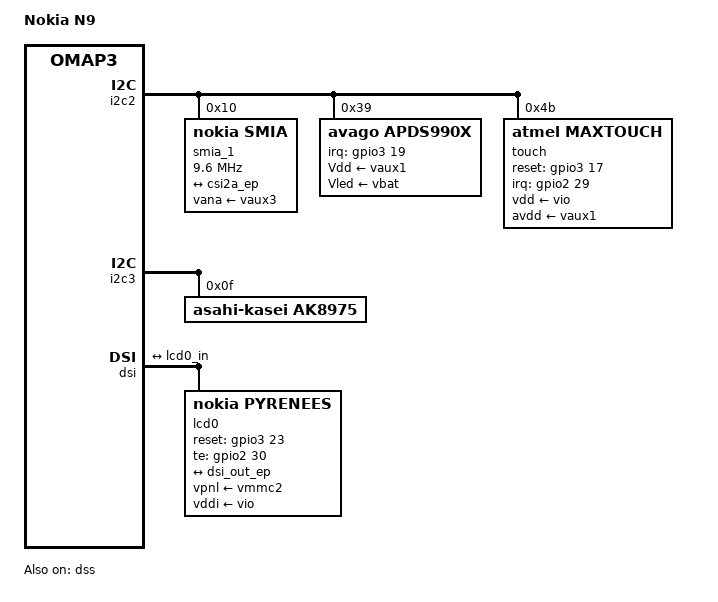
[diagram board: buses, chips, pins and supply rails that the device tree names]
/*
 * omap3-n9.dts - Device Tree file for Nokia N9
 *
 * Written by: Aaro Koskinen <aaro.koskinen@iki.fi>
 *
 * This program is free software; you can redistribute it and/or modify
 * it under the terms of the GNU General Public License version 2 as
 * published by the Free Software Foundation.
 */

/dts-v1/;

#include "omap3-n950-n9.dtsi"
#include <dt-bindings/input/input.h>

/ {
	model = "Nokia N9";
	compatible = "nokia,omap3-n9", "ti,omap36xx", "ti,omap3";
};

&omap3_pmx_core {
	dsi_pins: pinmux_dsi_pins {
		pinctrl-single,pins = <
			OMAP3_CORE1_IOPAD(0x20dc, PIN_OUTPUT | MUX_MODE1) /* dsi_dx0 - data0+ */
			OMAP3_CORE1_IOPAD(0x20de, PIN_OUTPUT | MUX_MODE1) /* dsi_dy0 - data0- */
			OMAP3_CORE1_IOPAD(0x20e0, PIN_OUTPUT | MUX_MODE1) /* dsi_dx1 - clk+   */
			OMAP3_CORE1_IOPAD(0x20e2, PIN_OUTPUT | MUX_MODE1) /* dsi_dy1 - clk-   */
			OMAP3_CORE1_IOPAD(0x20e4, PIN_OUTPUT | MUX_MODE1) /* dsi_dx2 - data1+ */
			OMAP3_CORE1_IOPAD(0x20e6, PIN_OUTPUT | MUX_MODE1) /* dsi_dy2 - data1- */
		>;
	};

	display_pins: pinmux_display_pins {
		pinctrl-single,pins = <
			OMAP3_CORE1_IOPAD(0x20ca, PIN_INPUT | MUX_MODE4) /* gpio 62 - display te */
			OMAP3_CORE1_IOPAD(0x20fe, PIN_OUTPUT | MUX_MODE4) /* gpio 87 - display reset */
		>;
	};
};

&i2c2 {
	smia_1: camera@10 {
		compatible = "nokia,smia";
		reg = <0x10>;
		/* No reset gpio */
		vana-supply = <&vaux3>;
		clocks = <&isp 0>;
		clock-frequency = <9600000>;
		nokia,nvm-size = <(16 * 64)>;
		port {
			smia_1_1: endpoint {
				link-frequencies = /bits/ 64 <199200000 210000000 499200000>;
				clock-lanes = <0>;
				data-lanes = <1 2>;
				remote-endpoint = <&csi2a_ep>;
			};
		};
	};

       apds990x@39 {
               compatible = "avago,apds990x";
               reg = <0x39>;

               interrupt-parent = <&gpio3>;
               interrupts = <19 10>; /* gpio_83, IRQF_TRIGGER_FALLING | IRQF_TRIGGER_LOW */

               Vdd-supply = <&vaux1>;
               Vled-supply = <&vbat>;

               ga      = <168834>;
               cf1     = <4096>;
               irf1    = <7824>;
               cf2     = <877>;
               irf2    = <1575>;
               df      = <52>;

	       pdrive  = /bits/ 8 <2>; /* APDS_IRLED_CURR_25mA */
	       ppcount  = /bits/ 8 <5>;
	};

	touch@4b {
		compatible = "atmel,maxtouch";
		reg = <0x4b>;
		interrupt-parent = <&gpio2>;
		interrupts = <29 2>; /* gpio_61, IRQF_TRIGGER_FALLING*/
		atmel,reset-gpio = <&gpio3 17 0>; /* gpio_81 */
		vdd-supply = <&vio>;
		avdd-supply = <&vaux1>;
		atmel,suspend-mode = <2>; /* MXT_SUSPEND_REGULATOR */
		atmel,cfg_name = "RM-696_Pyrenees_SMD_V1_6.raw";
	};
};

&i2c3 {
	ak8975@0f {
		compatible = "asahi-kasei,ak8975";
		reg = <0x0f>;
	};
};

&isp {
	vdd-csiphy1-supply = <&vaux2>;
	vdd-csiphy2-supply = <&vaux2>;
	ports {
		port@2 {
			reg = <2>;
			csi2a_ep: endpoint {
				remote-endpoint = <&smia_1_1>;
				clock-lanes = <2>;
				data-lanes = <1 3>;
				crc = <1>;
				lane-polarities = <1 1 1>;
			};
		};
	};
};

&modem {
	compatible = "nokia,n9-modem";
};

&lis302 {
	st,axis-x = <1>;    /* LIS3_DEV_X */
	st,axis-y = <(-2)>; /* LIS3_INV_DEV_Y */
	st,axis-z = <(-3)>; /* LIS3_INV_DEV_Z */

	st,min-limit-x = <(-46)>;
	st,min-limit-y = <3>;
	st,min-limit-z = <3>;

	st,max-limit-x = <(-3)>;
	st,max-limit-y = <46>;
	st,max-limit-z = <46>;
};

&dss {
	status = "ok";

	vdda_video-supply = <&vdac>;
};

&dss {
	status = "ok";

	vdda_video-supply = <&vdac>;
};

&twl_keypad {
	linux,keymap = < MATRIX_KEY(6, 8, KEY_VOLUMEUP)
			 MATRIX_KEY(7, 8, KEY_VOLUMEDOWN)
			 >;
};

&dsi {
	status = "ok";

	pinctrl-names = "default";
	pinctrl-0 = <&dsi_pins>;

	vdd-supply = <&vpll2>;

	port {
		dsi_out_ep: endpoint {
			remote-endpoint = <&lcd0_in>;
			lanes = <2 3 4 5 0 1>;
		};
	};

	lcd0: display {
		compatible = "nokia,pyrenees", "panel-dsi-cm";
		label = "lcd0";

		pinctrl-names = "default";
		pinctrl-0 = <&display_pins>;

		vpnl-supply = <&vmmc2>;
		vddi-supply = <&vio>;

		reset-gpios = <&gpio3 23 GPIO_ACTIVE_HIGH>;	/* 87 */
		te-gpios = <&gpio2 30 GPIO_ACTIVE_HIGH>;	/* 62 */

		width-mm = <48>; /* 48.240 mm */
		height-mm = <87>; /* 86.832 mm */

		panel-timing {
			clock-frequency = <0>;          /* Calculated by dsi */

			hback-porch = <2>;
			hactive = <480>;
			hfront-porch = <0>;
			hsync-len = <2>;

			vback-porch = <1>;
			vactive = <864>;
			vfront-porch = <0>;
			vsync-len = <1>;

			hsync-active = <0>;
			vsync-active = <0>;
			de-active = <1>;
			pixelclk-active = <1>;

		};

		port {
			lcd0_in: endpoint {
				remote-endpoint = <&dsi_out_ep>;
			};
		};
	};
};
